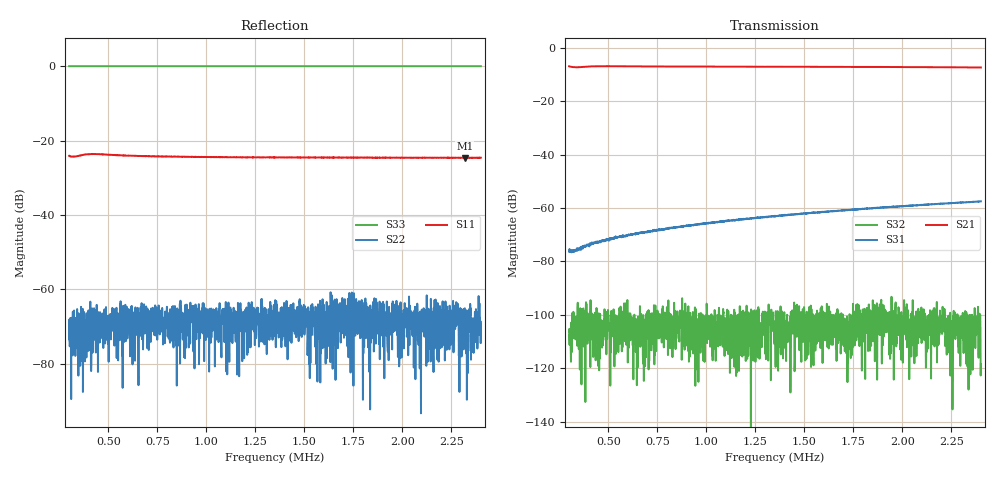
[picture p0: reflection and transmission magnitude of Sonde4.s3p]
#  HZ  S  DB  R  50.00
! Rohde & Schwarz Vector Network Analyzer
! Rohde-Schwarz,ZNB8-4Port,1311601044102961,2.82
! Created: UTC 10/29/2018, 10:08:19 AM
! freq[Hz]  db:S11  ang:S11  db:S12  ang:S12  db:S13  ang:S13
!  db:S21  ang:S21  db:S22  ang:S22  db:S23  ang:S23
!  db:S31  ang:S31  db:S32  ang:S32  db:S33  ang:S33
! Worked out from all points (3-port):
!   2001 points, 300 kHz to 2.4 MHz, reference 50 ohm
!   strongest paths, dB at 300 kHz, 825 kHz, 1.35 MHz, 1.875 MHz, 2.4 MHz:
!     S21: -7.0, -7.1, -7.1, -7.2, -7.4
!     S31: -76.4, -67.5, -63.2, -60.0, -57.5
!     S32: -106.3, -101.9, -105.5, -99.9, -118.5
!   lowest |S11| = -24.7 dB at 2.318 MHz (marker M1), VSWR 1.12, Z = 44.5 + j0.181 ohm
!   |S11| at or under -10 dB: start of sweep to end of sweep
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300000  -24.12 -139.2  -106.81 -119.6  -105.42 151.4
        -6.96 -111.8  -73.41 -98.9  -108.46 102.2
        -76.39 -23.0  -106.28 -85.7  -0.00 -1.7
524700  -23.88 -153.0  -107.13 -119.4  -100.16 125.3
        -6.94 -145.3  -68.85 3.9  -109.78 89.9
        -71.22 -56.4  -102.86 -137.8  -0.00 -2.9
1350000  -24.52 -173.7  -100.44 20.5  -105.46 -86.1
         -7.14 170.7  -70.22 -64.5  -108.19 -51.5
         -63.15 -102.5  -105.48 -55.3  -0.00 -7.6
1501200  -24.55 -175.8  -102.54 46.3  -111.53 39.2
         -7.16 165.8  -70.13 -52.3  -105.40 137.1
         -62.04 -107.2  -109.10 -158.1  0.00 -8.4
1526400  -24.56 -175.8  -109.89 76.5  -101.45 -22.0
         -7.15 165.0  -78.88 -47.0  -120.72 164.7
         -61.96 -108.2  -103.05 36.5  -0.00 -8.6
1771050  -24.62 -178.2  -108.80 -11.7  -104.70 150.5
         -7.20 157.9  -72.02 -100.7  -114.17 -100.0
         -60.58 -115.3  -100.12 -137.8  -0.00 -9.9
1835100  -24.60 -178.4  -114.79 102.6  -112.09 73.0
         -7.20 156.1  -92.27 68.1  -108.91 118.0
         -60.08 -117.8  -102.16 67.4  0.00 -10.3
1961100  -24.61 -179.6  -102.58 -3.8  -103.65 -153.4
         -7.24 152.5  -71.16 -64.8  -102.77 45.7
         -59.51 -122.2  -100.29 163.6  -0.00 -11.0
2318100  -24.67 178.0  -106.70 -177.3  -101.18 67.2
         -7.37 143.1  -65.09 -90.1  -118.00 90.9
         -57.89 -131.9  -102.48 -60.3  -0.00 -13.0
2400000  -24.63 177.1  -103.99 -85.2  -105.10 37.0
         -7.41 141.1  -68.73 -71.5  -99.43 166.9
         -57.53 -134.0  -118.47 -5.4  -0.00 -13.5
